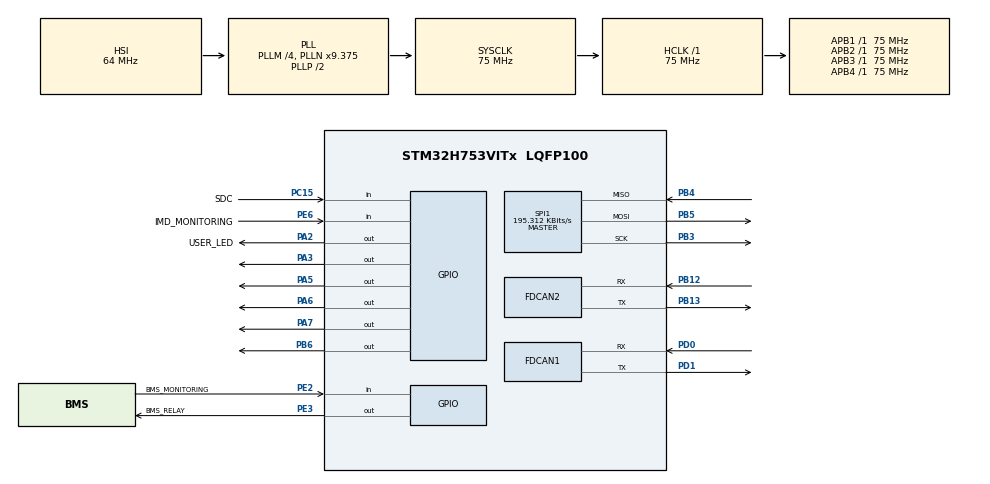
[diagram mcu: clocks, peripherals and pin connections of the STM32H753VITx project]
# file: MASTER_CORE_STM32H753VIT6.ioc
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CORTEX_M7.default_mode_Activation=1
FDCAN1.AutoRetransmission=ENABLE
FDCAN1.CalculateBaudRateNominal=500000
FDCAN1.CalculateTimeBitNominal=2000
FDCAN1.CalculateTimeQuantumNominal=20.0
FDCAN1.DataPrescaler=25
FDCAN1.DataTimeSeg1=2
FDCAN1.FrameFormat=FDCAN_FRAME_FD_NO_BRS
FDCAN1.NominalPrescaler=1
FDCAN1.NominalSyncJumpWidth=13
FDCAN1.NominalTimeSeg1=86
FDCAN1.NominalTimeSeg2=13
FDCAN1.RxFifo0ElmtsNbr=1
FDCAN1.StdFiltersNbr=1
FDCAN1.TxFifoQueueElmtsNbr=1
FDCAN1.TxFifoQueueMode=FDCAN_TX_FIFO_OPERATION
FDCAN2.AutoRetransmission=ENABLE
FDCAN2.CalculateBaudRateNominal=500000
FDCAN2.CalculateTimeBitNominal=2000
FDCAN2.CalculateTimeQuantumNominal=20.0
FDCAN2.DataPrescaler=25
FDCAN2.DataTimeSeg1=2
FDCAN2.FrameFormat=FDCAN_FRAME_FD_NO_BRS
FDCAN2.MessageRAMOffset=9
FDCAN2.NominalPrescaler=1
FDCAN2.NominalSyncJumpWidth=13
FDCAN2.NominalTimeSeg1=86
FDCAN2.NominalTimeSeg2=13
FDCAN2.RxFifo0ElmtsNbr=1
FDCAN2.RxFifo1ElmtsNbr=0
FDCAN2.StdFiltersNbr=0
FDCAN2.TxBuffersNbr=4
FDCAN2.TxEventsNbr=4
FDCAN2.TxFifoQueueElmtsNbr=4
FDCAN2.TxFifoQueueMode=FDCAN_TX_FIFO_OPERATION
Mcu.Family=STM32H7
Mcu.Name=STM32H753VITx
Mcu.Package=LQFP100
NVIC.FDCAN1_IT0_IRQn=true\:3\:0\:true\:false\:true\:true\:true\:true
NVIC.FDCAN1_IT1_IRQn=true\:3\:0\:true\:false\:true\:true\:true\:true
NVIC.FDCAN2_IT0_IRQn=true\:3\:0\:true\:false\:true\:true\:true\:true
NVIC.FDCAN2_IT1_IRQn=true\:3\:0\:true\:false\:true\:true\:true\:true
NVIC.PriorityGroup=NVIC_PRIORITYGROUP_4
NVIC.SPI1_IRQn=true\:0\:0\:false\:false\:true\:true\:true\:true
NVIC.TIM8_TRG_COM_TIM14_IRQn=true\:0\:0\:false\:false\:true\:true\:true\:true
NVIC.TIM8_UP_TIM13_IRQn=true\:0\:0\:true\:false\:true\:true\:true\:true
PA2.GPIO_Label=USER_LED
PA2.Signal=GPIO_Output
PA3.Signal=GPIO_Output
PA5.Signal=GPIO_Output
PA6.Signal=GPIO_Output
PA7.Signal=GPIO_Output
PB12.Mode=FDCAN_Activate
PB12.Signal=FDCAN2_RX
PB13.Mode=FDCAN_Activate
PB13.Signal=FDCAN2_TX
PB3\ (JTDO/TRACESWO).Mode=Full_Duplex_Master
PB3\ (JTDO/TRACESWO).Signal=SPI1_SCK
PB4\ (NJTRST).GPIO_PuPd=GPIO_PULLUP
PB4\ (NJTRST).Mode=Full_Duplex_Master
PB4\ (NJTRST).Signal=SPI1_MISO
PB5.GPIO_PuPd=GPIO_PULLUP
PB5.Mode=Full_Duplex_Master
PB5.Signal=SPI1_MOSI
PB6.GPIO_ModeDefaultOutputPP=GPIO_MODE_OUTPUT_PP
PB6.GPIO_PuPd=GPIO_PULLUP
PB6.Signal=GPIO_Output
PC15-OSC32_OUT\ (OSC32_OUT).GPIO_Label=SDC
PC15-OSC32_OUT\ (OSC32_OUT).Signal=GPIO_Input
PD0.Mode=FDCAN_Activate
PD0.Signal=FDCAN1_RX
PD1.Mode=FDCAN_Activate
PD1.Signal=FDCAN1_TX
PE2.GPIO_Label=BMS_MONITORING
PE2.Signal=GPIO_Input
PE3.GPIO_Label=BMS_RELAY
PE3.Signal=GPIO_Output
PE6.GPIO_Label=IMD_MONITORING
PE6.Signal=GPIO_Input
PH0-OSC_IN\ (PH0).Mode=HSE-External-Oscillator
PH0-OSC_IN\ (PH0).Signal=RCC_OSC_IN
PH1-OSC_OUT\ (PH1).Mode=HSE-External-Oscillator
PH1-OSC_OUT\ (PH1).Signal=RCC_OSC_OUT
ProjectManager.HeapSize=0x200
ProjectManager.StackSize=0x400
ProjectManager.TargetToolchain=STM32CubeIDE
RCC.ADCFreq_Value=129000000
RCC.APB1Freq_Value=75000000
RCC.APB2Freq_Value=75000000
RCC.APB3Freq_Value=75000000
RCC.APB4Freq_Value=75000000
RCC.CortexFreq_Value=75000000
RCC.DIVM1=4
RCC.DIVN1=9
RCC.DIVQ1=3
RCC.HCLKFreq_Value=75000000
RCC.PLL2FRACN=0
RCC.PLL3FRACN=0
RCC.PLLFRACN=3072
RCC.SYSCLKFreq_VALUE=75000000
RCC.SYSCLKSource=RCC_SYSCLKSOURCE_PLLCLK
RCC.USBFreq_Value=50000000
SPI1.BaudRatePrescaler=SPI_BAUDRATEPRESCALER_256
SPI1.CLKPhase=SPI_PHASE_2EDGE
SPI1.CLKPolarity=SPI_POLARITY_HIGH
SPI1.CalculateBaudRate=195.312 KBits/s
SPI1.DataSize=SPI_DATASIZE_8BIT
SPI1.Direction=SPI_DIRECTION_2LINES
SPI1.Mode=SPI_MODE_MASTER
SPI1.VirtualType=VM_MASTER
TIM13.Period=1000
TIM13.Prescaler=75-1
TIM14.Period=10000
TIM14.Prescaler=10-1
VP_TIM13_VS_ClockSourceINT.Mode=Enable_Timer
VP_TIM14_VS_ClockSourceINT.Mode=Enable_Timer
board=custom

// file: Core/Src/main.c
/* USER CODE BEGIN Header */
/**
  ******************************************************************************
  * @file           : main.c
  * @brief          : Main program body
  ******************************************************************************
  * @attention
  *
  * Copyright (c) 2024 STMicroelectronics.
  * All rights reserved.
  *
  * This software is licensed under terms that can be found in the LICENSE file
  * in the root directory of this software component.
  * If no LICENSE file comes with this software, it is provided AS-IS.
  *
  ******************************************************************************
  */
/* USER CODE END Header */
#include "main.h"

/* USER CODE BEGIN Includes */
#include "LTC6811-1_eTechRacing.h"
#include "eTechRacing.h"
#include <stdio.h>
#include <stdlib.h>
#include "errors.h"
#include "can_comunication.h"
#include "BMS.h"
#include "FLASH_SECTOR_H7.h"

/* USER CODE END Includes */

FDCAN_HandleTypeDef hfdcan1;
FDCAN_HandleTypeDef hfdcan2;

SPI_HandleTypeDef hspi1;

TIM_HandleTypeDef htim13;
TIM_HandleTypeDef htim14;

/* USER CODE BEGIN PV */

//ERRORS---------------------------------------------------------------------------------
uint8_t BMS_OK = 1;
//uint8_t PEC_SLAVES_Temp[8*TOTAL_IC];
//uint8_t PEC_SLAVES_Volt[4*TOTAL_IC];
uint8_t PEC_SLAVES_Temp[120];
uint8_t PEC_SLAVES_Volt[60];

//Informació rebuda i calculada------------------------------------------------------------------
//uint16_t voltatjes[12*TOTAL_IC];
//uint16_t temperatures[8*TOTAL_IC];
//uint16_t temperatures_conv[8*TOTAL_IC];
uint16_t voltatjes[180];
uint16_t temperatures[120];
uint16_t temperatures_conv[120];
int32_t Current;
uint8_t curr_arr[4];
uint16_t min_volt;
uint16_t max_volt;
uint32_t sum_volt;
uint16_t min_temp;
uint16_t max_temp;
float mean_temp;
float mean_volt;

//FLAGS EVALUATIONS------------------------------------------------------------------------------------------
//uint32_t ov_flag_arr[12*TOTAL_IC];
//uint32_t uv_flag_arr[12*TOTAL_IC];
//uint32_t ot_flag_arr[8*TOTAL_IC];
//uint32_t sd_flag_arr_volt[4*TOTAL_IC];
//uint32_t sd_flag_arr_temp[8*TOTAL_IC];
uint32_t ov_flag_arr[180];
uint32_t uv_flag_arr[180];
uint32_t ot_flag_arr[120];
uint32_t ut_flag_arr[120];
uint32_t sd_flag_arr_volt[60];
uint32_t sd_flag_arr_temp[120];
uint32_t oc_flag_arr[1];
uint32_t etas_flag[1];
uint32_t current_flag[1];
uint32_t current_sync_flag[1];
uint32_t can_balancing_flag[1];

uint8_t current_error[1] = {1};
uint8_t KEEP_ALIVE = 0;
uint8_t BMS_MONITORING = 0;
uint8_t IMD_MONITORING = 0;
uint8_t SDC_MONITORING = 0;

//FLAGS------------------------------------------------------------------------------------------
uint8_t OV_FLAG = 1;
uint8_t UV_FLAG = 1;
uint8_t OT_FLAG = 1;
uint8_t UT_FLAG = 1;				//Not evaluated
uint8_t OC_FLAG = 1;
uint8_t SD_FLAG = 1;
uint8_t CE_FLAG = 1;
uint8_t ETAS_SYNC_FLAG = 0;
uint8_t CURR_SYNC_FLAG = 1;
uint8_t CAN_BALANCING_FLAG = 0;

uint8_t Airs_State[4] = {0,0,0,0}; //0 airs state,1 air+ state,  2 air- state, 3precharge state

uint8_t msg = 0;

//Configuració-----------------------------------------------------------------------------------
uint8_t GPIOx = 0b00000011;
uint8_t CH = 0b00000000;
uint8_t BLC = 0;							// 0 if not balancing; 1 if balancing
uint8_t AIRs_request = 0;
uint8_t CURR_STATE = 1;

//CAN--------------------------------------------------------------------------------------------
FDCAN_RxHeaderTypeDef RxHeader;
FDCAN_TxHeaderTypeDef TxHeader;
FDCAN_FilterTypeDef canfil;
FDCAN_FilterTypeDef canfil2;
uint8_t RxData[30];
uint8_t TxData[30];

FDCAN_RxHeaderTypeDef RxHeader2;
FDCAN_TxHeaderTypeDef TxHeader2;
uint8_t RxData2[30];
uint8_t TxData2[30];

//INTERRUPCIO TIMER TEMPREATURES I VOLTATJES
uint16_t COBID_TEMP = 0x11A;
uint16_t COBID_VOLT = 0xEA;
uint8_t IC_TEMP = 0;
uint8_t IC_VOLT = 0;
uint8_t RX_VOLT_TEMP = 0;
uint8_t recieve[4+3*8];

uint32_t num1;
uint32_t num2;

uint8_t BMS_SELECTION = 0; //BMS FORZADO == 1 <-> BMS NATURAL == 0

uint32_t BLC_COUNTER = 0;	//COUNTER DE 0 a 3000 mentre està balancejant, quan arriba a 3000 es posa a 0

/* USER CODE END PV */

void SystemClock_Config(void);
static void MPU_Config(void);
static void MX_GPIO_Init(void);
static void MX_FDCAN1_Init(void);
static void MX_FDCAN2_Init(void);
static void MX_SPI1_Init(void);
static void MX_TIM13_Init(void);
static void MX_TIM14_Init(void);
/* USER CODE BEGIN PFP */
static void FDCAN_Config(void);
/* USER CODE END PFP */

int main(void)
{

  /* MPU Configuration--------------------------------------------------------*/
  MPU_Config();

  /* MCU Configuration--------------------------------------------------------*/

  /* Reset of all peripherals, Initializes the Flash interface and the Systick. */
  HAL_Init();

  /* Configure the system clock */
  SystemClock_Config();

  /* Initialize all configured peripherals */
  MX_GPIO_Init();
  MX_FDCAN1_Init();
  MX_FDCAN2_Init();
  MX_SPI1_Init();
  MX_TIM13_Init();
  MX_TIM14_Init();
  /* USER CODE BEGIN 2 */
	   FDCAN_Config();

  	   if(HAL_TIM_Base_Start_IT(&htim14) != HAL_OK) Error_Handler();			//TIMER 14 Initialization
  	   if(HAL_TIM_Base_Start_IT(&htim13) != HAL_OK) Error_Handler();			//TIMER 13 Initialization

  	   HAL_GPIO_WritePin(BMS_RELAY_PORT, BMS_RELAY_PIN, GPIO_PIN_RESET);		//Close BMS relay

  	   outputCS(1);

//	   Flash_Read_Data(0x080A0000,(uint32_t *) &TOTAL_IC, 2);
//	   Flash_Read_Data(0x080A0001,(uint32_t *) &V_BALANCING, 2);
//	   V_MIN = V_BALANCING*40/42;

  /* USER CODE END 2 */

  /* Infinite loop */
  /* USER CODE BEGIN WHILE */
	   while (1)
	   {
//		   Flash_Write_Data(0x080A0000,&num1, 1);
//		   Flash_Read_Data(0x080A0000, &num2, 1);

	 	  if((BLC == 1 && BLC_COUNTER >=3000)){ //ATURA PER LLEGIR O LLEGEIX NORMAL
	 	  		  	  ltc6811_wrpwm(hspi1);
	 	  		  //Voltage & Temperature lectures--------------------------------------------------------------------
	 	  		  	  ltc6811_rav(hspi1, PEC_SLAVES_Volt, voltatjes, GPIOx, CH, 0, min_volt);	//Voltage lectures
	 	  		  //Voltage & Temperature lectures--------------------------------------------------------------------
	 	  		  	   ltc6811_rat(hspi1, PEC_SLAVES_Temp, voltatjes, temperatures, 0, min_volt); //Temperature lectures
	 	  		  	   Conv_Temp(temperatures, temperatures_conv);									//Temperature lectures conversion
	 	  		  	   BLC_COUNTER = 0;
	 	  	  }

	 	  	  else if(BLC == 1 && BLC_COUNTER <3000){ //BALANCEIG
	 	  		  	   ltc6811_wrcfg(hspi1, GPIOx, voltatjes, BLC, min_volt);
	 	  		  	   BLC_COUNTER++;
	 	  	  }else if((BLC == 0)){
	 	  		  //Voltage & Temperature lectures--------------------------------------------------------------------
	 	  		  	  ltc6811_rav(hspi1, PEC_SLAVES_Volt, voltatjes, GPIOx, CH, 0, min_volt);	//Voltage lectures
	 	  		  //Voltage & Temperature lectures--------------------------------------------------------------------
	 	  		  	   ltc6811_rat(hspi1, PEC_SLAVES_Temp, voltatjes, temperatures, 0, min_volt); //Temperature lectures
	 	  		  	   Conv_Temp(temperatures, temperatures_conv);									//Temperature lectures conversion
	 	  		  	   BLC_COUNTER = 0;
	 	  	  }

	 	  	   switch(BMS_SELECTION){
	 	  	   case 0:
	 	  		   //Calculation of min, max, avg volt, avg temp & current-----------------------------------------------------------
	 	  		   	   min_volt = Min_Volt(voltatjes);									//Minimum voltage calculation
	 	  		   	   max_volt = Max_Volt(voltatjes);									//Maximum voltage calculation
	 	  		   	   sum_volt = Sum_Volt(voltatjes);									//Sum of all voltages
	 	  		   	   mean_volt = Mean_Volt(voltatjes);								//Mean voltage calculation
	 	  		   	   min_temp = Min_Temp(temperatures_conv);							//Minimum temperature calculation
	 	  		   	   max_temp = Max_Temp(temperatures_conv);							//Maximum temperature calculation
	 	  		   	   mean_temp = Mean_Temp(temperatures_conv);						//Mean temperature calculation

	 	  		   //Errors evaluation---------------------------------------------------------------------------------------
	 	  		   	   UT_FLAG = UT_EVAL(temperatures_conv, ut_flag_arr);				//Under voltage error evaluation
	 	  		   	   OV_FLAG = OV_EVAL(voltatjes, ov_flag_arr);						//Over voltage error evaluation
	 	  		   	   UV_FLAG = UV_EVAL(voltatjes, uv_flag_arr);						//Under voltage error evaluation
	 	  		   	   OT_FLAG = OT_EVAL(temperatures_conv, ot_flag_arr);				//Over temperature error evaluation
	 	  		   	   OC_FLAG = detection_BMSerror_OverCurrent(Current, oc_flag_arr);	//Over current error evaluation
	 	  		   	   ETAS_SYNC_FLAG = ETAS_SYNC_EVAL(etas_flag);						//Evaluate if the ETAS is alive
	 	  		   	   CURR_SYNC_FLAG = CURR_SYNC_EVAL(current_sync_flag);				//Evaluate if the current sensor is alive
	 	  		   	   CAN_BALANCING_FLAG = BALANCING_SYNC_EVAL(can_balancing_flag);	//Evaluate the forced balancing sent by CANoe
	 	  		   	   SD_FLAG = slave_disc(PEC_SLAVES_Volt, PEC_SLAVES_Temp, sd_flag_arr_volt, sd_flag_arr_temp); //Evaluate the slave disconnection
	 	  		   	   CE_FLAG = current_error_eval(current_error, current_flag);		//Evaluate if there is a current error for more than 500ms
	 	  		   	   if(HAL_GetTick()>4500){
	 	  		   	   if(((OV_FLAG == 1) || (UT_FLAG == 1) || (UV_FLAG == 1) || (OT_FLAG == 1) || (OC_FLAG == 1) ||(SD_FLAG == 1)||(CE_FLAG == 1)||(CURR_SYNC_FLAG == 1)) ) BMS_OK = 0;	}//If there is any error, BMS_OK = 0
	 	  			   BMS_MONITORING = HAL_GPIO_ReadPin(BMS_MONITORING_PORT, BMS_MONITORING_PIN)^1 ;	//Evaluate the BMS_Monitoring pin
	 	  			   IMD_MONITORING = HAL_GPIO_ReadPin(IMD_MONITORING_PORT, IMD_MONITORING_PIN)^1;	//Evaluate the IMD_Monitoring pin
	 	  			   SDC_MONITORING = HAL_GPIO_ReadPin(SDC_MONITORING_PORT, SDC_MONITORING_PIN)^1;	//Evaluate the SDC_Monitoring pin
	 	  		  break;
	 	  	   case 1:
	 	  		   //Calculation of min, max, avg volt, avg temp & current-----------------------------------------------------------
	 	  		   	   min_volt = 36000;
	 	  		   	   max_volt = 39500;
	 	  		   	   sum_volt = 5880000;
	 	  		   	   mean_volt = 37500;
	 	  		   	   min_temp = 252;
	 	  		   	   max_temp = 263;
	 	  		   	   mean_temp = 256;

	 	  		   //Errors evaluation---------------------------------------------------------------------------------------
	 	  		   	   UT_FLAG = 0;
	 	  		   	   OV_FLAG = 0;
	 	  		   	   UV_FLAG = 0;
	 	  		   	   OT_FLAG = 0;
	 	  		   	   OC_FLAG = 0;
	 	  		   	   ETAS_SYNC_FLAG = ETAS_SYNC_EVAL(etas_flag);						//Evaluate if the ETAS is alive
	 	  		   	   CURR_SYNC_FLAG = CURR_SYNC_EVAL(current_sync_flag);				//Evaluate if the current sensor is alive
	 	  		   	   CAN_BALANCING_FLAG = BALANCING_SYNC_EVAL(can_balancing_flag);	//Evaluate the forced balancing sent by CANoe
	 	  		   	   SD_FLAG = slave_disc(PEC_SLAVES_Volt, PEC_SLAVES_Temp, sd_flag_arr_volt, sd_flag_arr_temp); //Evaluate the slave disconnection
	 	  		   	   CE_FLAG = current_error_eval(current_error, current_flag);		//Evaluate if there is a current error for more than 500ms
	 	  		   	 BMS_MONITORING = HAL_GPIO_ReadPin(BMS_MONITORING_PORT, BMS_MONITORING_PIN)^1 ;	//Evaluate the BMS_Monitoring pin
	 	  		   		  			   IMD_MONITORING = HAL_GPIO_ReadPin(IMD_MONITORING_PORT, IMD_MONITORING_PIN)^1;	//Evaluate the IMD_Monitoring pin
	 	  		   		  			   SDC_MONITORING = HAL_GPIO_ReadPin(SDC_MONITORING_PORT, SDC_MONITORING_PIN)^1;	//Evaluate the SDC_Monitoring pin
	 	  			   BMS_OK = 1;
	 	  			  HAL_GPIO_WritePin(BMS_RELAY_PORT, BMS_RELAY_PIN, GPIO_PIN_RESET);		//Close BMS relay
	 	  		   break;
	 	  	   }
	 	  //State Machine Evaluation------------------------------------------------------------------------------
	 	  	   CURR_STATE = StateMachineSteps(CURR_STATE, AIRs_request, BMS_OK, ETAS_SYNC_FLAG);	//Evaluate which is the current state of the charging process
	 	  	   BLC = StateMachineActuation(CURR_STATE, Airs_State, CAN_BALANCING_FLAG);

    /* USER CODE END WHILE */

  }
}

void SystemClock_Config(void)
{
  RCC_OscInitTypeDef RCC_OscInitStruct = {0};
  RCC_ClkInitTypeDef RCC_ClkInitStruct = {0};

  /** Supply configuration update enable
  */
  HAL_PWREx_ConfigSupply(PWR_LDO_SUPPLY);

  /** Configure the main internal regulator output voltage
  */
  __HAL_PWR_VOLTAGESCALING_CONFIG(PWR_REGULATOR_VOLTAGE_SCALE3);

  while(!__HAL_PWR_GET_FLAG(PWR_FLAG_VOSRDY)) {}

  /** Initializes the RCC Oscillators according to the specified parameters
  * in the RCC_OscInitTypeDef structure.
  */
  RCC_OscInitStruct.OscillatorType = RCC_OSCILLATORTYPE_HSI;
  RCC_OscInitStruct.HSIState = RCC_HSI_DIV1;
  RCC_OscInitStruct.HSICalibrationValue = RCC_HSICALIBRATION_DEFAULT;
  RCC_OscInitStruct.PLL.PLLState = RCC_PLL_ON;
  RCC_OscInitStruct.PLL.PLLSource = RCC_PLLSOURCE_HSI;
  RCC_OscInitStruct.PLL.PLLM = 4;
  RCC_OscInitStruct.PLL.PLLN = 9;
  RCC_OscInitStruct.PLL.PLLP = 2;
  RCC_OscInitStruct.PLL.PLLQ = 3;
  RCC_OscInitStruct.PLL.PLLR = 2;
  RCC_OscInitStruct.PLL.PLLRGE = RCC_PLL1VCIRANGE_3;
  RCC_OscInitStruct.PLL.PLLVCOSEL = RCC_PLL1VCOMEDIUM;
  RCC_OscInitStruct.PLL.PLLFRACN = 3072;
  if (HAL_RCC_OscConfig(&RCC_OscInitStruct) != HAL_OK)
  {
    Error_Handler();
  }

  /** Initializes the CPU, AHB and APB buses clocks
  */
  RCC_ClkInitStruct.ClockType = RCC_CLOCKTYPE_HCLK|RCC_CLOCKTYPE_SYSCLK
                              |RCC_CLOCKTYPE_PCLK1|RCC_CLOCKTYPE_PCLK2
                              |RCC_CLOCKTYPE_D3PCLK1|RCC_CLOCKTYPE_D1PCLK1;
  RCC_ClkInitStruct.SYSCLKSource = RCC_SYSCLKSOURCE_PLLCLK;
  RCC_ClkInitStruct.SYSCLKDivider = RCC_SYSCLK_DIV1;
  RCC_ClkInitStruct.AHBCLKDivider = RCC_HCLK_DIV1;
  RCC_ClkInitStruct.APB3CLKDivider = RCC_APB3_DIV1;
  RCC_ClkInitStruct.APB1CLKDivider = RCC_APB1_DIV1;
  RCC_ClkInitStruct.APB2CLKDivider = RCC_APB2_DIV1;
  RCC_ClkInitStruct.APB4CLKDivider = RCC_APB4_DIV1;

  if (HAL_RCC_ClockConfig(&RCC_ClkInitStruct, FLASH_LATENCY_1) != HAL_OK)
  {
    Error_Handler();
  }
}

static void MX_FDCAN1_Init(void)
{

  hfdcan1.Instance = FDCAN1;
  hfdcan1.Init.FrameFormat = FDCAN_FRAME_FD_NO_BRS;
  hfdcan1.Init.Mode = FDCAN_MODE_NORMAL;
  hfdcan1.Init.AutoRetransmission = ENABLE;
  hfdcan1.Init.TransmitPause = DISABLE;
  hfdcan1.Init.ProtocolException = DISABLE;
  hfdcan1.Init.NominalPrescaler = 1;
  hfdcan1.Init.NominalSyncJumpWidth = 13;
  hfdcan1.Init.NominalTimeSeg1 = 86;
  hfdcan1.Init.NominalTimeSeg2 = 13;
  hfdcan1.Init.DataPrescaler = 25;
  hfdcan1.Init.DataSyncJumpWidth = 1;
  hfdcan1.Init.DataTimeSeg1 = 2;
  hfdcan1.Init.DataTimeSeg2 = 1;
  hfdcan1.Init.MessageRAMOffset = 0;
  hfdcan1.Init.StdFiltersNbr = 1;
  hfdcan1.Init.ExtFiltersNbr = 0;
  hfdcan1.Init.RxFifo0ElmtsNbr = 1;
  hfdcan1.Init.RxFifo0ElmtSize = FDCAN_DATA_BYTES_8;
  hfdcan1.Init.RxFifo1ElmtsNbr = 0;
  hfdcan1.Init.RxFifo1ElmtSize = FDCAN_DATA_BYTES_8;
  hfdcan1.Init.RxBuffersNbr = 0;
  hfdcan1.Init.RxBufferSize = FDCAN_DATA_BYTES_8;
  hfdcan1.Init.TxEventsNbr = 0;
  hfdcan1.Init.TxBuffersNbr = 0;
  hfdcan1.Init.TxFifoQueueElmtsNbr = 1;
  hfdcan1.Init.TxFifoQueueMode = FDCAN_TX_FIFO_OPERATION;
  hfdcan1.Init.TxElmtSize = FDCAN_DATA_BYTES_8;
  if (HAL_FDCAN_Init(&hfdcan1) != HAL_OK)
  {
    Error_Handler();
  }

}

static void MX_FDCAN2_Init(void)
{

  hfdcan2.Instance = FDCAN2;
  hfdcan2.Init.FrameFormat = FDCAN_FRAME_FD_NO_BRS;
  hfdcan2.Init.Mode = FDCAN_MODE_NORMAL;
  hfdcan2.Init.AutoRetransmission = ENABLE;
  hfdcan2.Init.TransmitPause = DISABLE;
  hfdcan2.Init.ProtocolException = DISABLE;
  hfdcan2.Init.NominalPrescaler = 1;
  hfdcan2.Init.NominalSyncJumpWidth = 13;
  hfdcan2.Init.NominalTimeSeg1 = 86;
  hfdcan2.Init.NominalTimeSeg2 = 13;
  hfdcan2.Init.DataPrescaler = 25;
  hfdcan2.Init.DataSyncJumpWidth = 1;
  hfdcan2.Init.DataTimeSeg1 = 2;
  hfdcan2.Init.DataTimeSeg2 = 1;
  hfdcan2.Init.MessageRAMOffset = 9;
  hfdcan2.Init.StdFiltersNbr = 0;
  hfdcan2.Init.ExtFiltersNbr = 0;
  hfdcan2.Init.RxFifo0ElmtsNbr = 1;
  hfdcan2.Init.RxFifo0ElmtSize = FDCAN_DATA_BYTES_8;
  hfdcan2.Init.RxFifo1ElmtsNbr = 0;
  hfdcan2.Init.RxFifo1ElmtSize = FDCAN_DATA_BYTES_8;
  hfdcan2.Init.RxBuffersNbr = 0;
  hfdcan2.Init.RxBufferSize = FDCAN_DATA_BYTES_8;
  hfdcan2.Init.TxEventsNbr = 4;
  hfdcan2.Init.TxBuffersNbr = 4;
  hfdcan2.Init.TxFifoQueueElmtsNbr = 4;
  hfdcan2.Init.TxFifoQueueMode = FDCAN_TX_FIFO_OPERATION;
  hfdcan2.Init.TxElmtSize = FDCAN_DATA_BYTES_8;
  if (HAL_FDCAN_Init(&hfdcan2) != HAL_OK)
  {
    Error_Handler();
  }

}

static void MX_SPI1_Init(void)
{

  /* SPI1 parameter configuration*/
  hspi1.Instance = SPI1;
  hspi1.Init.Mode = SPI_MODE_MASTER;
  hspi1.Init.Direction = SPI_DIRECTION_2LINES;
  hspi1.Init.DataSize = SPI_DATASIZE_8BIT;
  hspi1.Init.CLKPolarity = SPI_POLARITY_HIGH;
  hspi1.Init.CLKPhase = SPI_PHASE_2EDGE;
  hspi1.Init.NSS = SPI_NSS_SOFT;
  hspi1.Init.BaudRatePrescaler = SPI_BAUDRATEPRESCALER_256;
  hspi1.Init.FirstBit = SPI_FIRSTBIT_MSB;
  hspi1.Init.TIMode = SPI_TIMODE_DISABLE;
  hspi1.Init.CRCCalculation = SPI_CRCCALCULATION_DISABLE;
  hspi1.Init.CRCPolynomial = 0x0;
  hspi1.Init.NSSPMode = SPI_NSS_PULSE_ENABLE;
  hspi1.Init.NSSPolarity = SPI_NSS_POLARITY_LOW;
  hspi1.Init.FifoThreshold = SPI_FIFO_THRESHOLD_01DATA;
  hspi1.Init.TxCRCInitializationPattern = SPI_CRC_INITIALIZATION_ALL_ZERO_PATTERN;
  hspi1.Init.RxCRCInitializationPattern = SPI_CRC_INITIALIZATION_ALL_ZERO_PATTERN;
  hspi1.Init.MasterSSIdleness = SPI_MASTER_SS_IDLENESS_00CYCLE;
  hspi1.Init.MasterInterDataIdleness = SPI_MASTER_INTERDATA_IDLENESS_00CYCLE;
  hspi1.Init.MasterReceiverAutoSusp = SPI_MASTER_RX_AUTOSUSP_DISABLE;
  hspi1.Init.MasterKeepIOState = SPI_MASTER_KEEP_IO_STATE_DISABLE;
  hspi1.Init.IOSwap = SPI_IO_SWAP_DISABLE;
  if (HAL_SPI_Init(&hspi1) != HAL_OK)
  {
    Error_Handler();
  }

}

static void MX_TIM13_Init(void)
{

  htim13.Instance = TIM13;
  htim13.Init.Prescaler = 75-1;
  htim13.Init.CounterMode = TIM_COUNTERMODE_UP;
  htim13.Init.Period = 1000;
  htim13.Init.ClockDivision = TIM_CLOCKDIVISION_DIV1;
  htim13.Init.AutoReloadPreload = TIM_AUTORELOAD_PRELOAD_DISABLE;
  if (HAL_TIM_Base_Init(&htim13) != HAL_OK)
  {
    Error_Handler();
  }

}

static void MX_TIM14_Init(void)
{

  htim14.Instance = TIM14;
  htim14.Init.Prescaler = 10-1;
  htim14.Init.CounterMode = TIM_COUNTERMODE_UP;
  htim14.Init.Period = 10000;
  htim14.Init.ClockDivision = TIM_CLOCKDIVISION_DIV1;
  htim14.Init.AutoReloadPreload = TIM_AUTORELOAD_PRELOAD_DISABLE;
  if (HAL_TIM_Base_Init(&htim14) != HAL_OK)
  {
    Error_Handler();
  }

}

static void MX_GPIO_Init(void)
{
  GPIO_InitTypeDef GPIO_InitStruct = {0};

  /* GPIO Ports Clock Enable */
  __HAL_RCC_GPIOE_CLK_ENABLE();
  __HAL_RCC_GPIOC_CLK_ENABLE();
  __HAL_RCC_GPIOH_CLK_ENABLE();
  __HAL_RCC_GPIOA_CLK_ENABLE();
  __HAL_RCC_GPIOB_CLK_ENABLE();
  __HAL_RCC_GPIOD_CLK_ENABLE();

  /*Configure GPIO pin Output Level */
  HAL_GPIO_WritePin(BMS_RELAY_GPIO_Port, BMS_RELAY_Pin, GPIO_PIN_RESET);

  /*Configure GPIO pin Output Level */
  HAL_GPIO_WritePin(GPIOA, USER_LED_Pin|GPIO_PIN_3|GPIO_PIN_5|GPIO_PIN_6
                          |GPIO_PIN_7, GPIO_PIN_RESET);

  /*Configure GPIO pin Output Level */
  HAL_GPIO_WritePin(GPIOB, GPIO_PIN_6, GPIO_PIN_RESET);

  /*Configure GPIO pins : BMS_MONITORING_Pin IMD_MONITORING_Pin */
  GPIO_InitStruct.Pin = BMS_MONITORING_Pin|IMD_MONITORING_Pin;
  GPIO_InitStruct.Mode = GPIO_MODE_INPUT;
  GPIO_InitStruct.Pull = GPIO_NOPULL;
  HAL_GPIO_Init(GPIOE, &GPIO_InitStruct);

  /*Configure GPIO pin : BMS_RELAY_Pin */
  GPIO_InitStruct.Pin = BMS_RELAY_Pin;
  GPIO_InitStruct.Mode = GPIO_MODE_OUTPUT_PP;
  GPIO_InitStruct.Pull = GPIO_NOPULL;
  GPIO_InitStruct.Speed = GPIO_SPEED_FREQ_LOW;
  HAL_GPIO_Init(BMS_RELAY_GPIO_Port, &GPIO_InitStruct);

  /*Configure GPIO pin : SDC_Pin */
  GPIO_InitStruct.Pin = SDC_Pin;
  GPIO_InitStruct.Mode = GPIO_MODE_INPUT;
  GPIO_InitStruct.Pull = GPIO_NOPULL;
  HAL_GPIO_Init(SDC_GPIO_Port, &GPIO_InitStruct);

  /*Configure GPIO pins : USER_LED_Pin PA3 PA5 PA6
                           PA7 */
  GPIO_InitStruct.Pin = USER_LED_Pin|GPIO_PIN_3|GPIO_PIN_5|GPIO_PIN_6
                          |GPIO_PIN_7;
  GPIO_InitStruct.Mode = GPIO_MODE_OUTPUT_PP;
  GPIO_InitStruct.Pull = GPIO_NOPULL;
  GPIO_InitStruct.Speed = GPIO_SPEED_FREQ_LOW;
  HAL_GPIO_Init(GPIOA, &GPIO_InitStruct);

  /*Configure GPIO pin : PB6 */
  GPIO_InitStruct.Pin = GPIO_PIN_6;
  GPIO_InitStruct.Mode = GPIO_MODE_OUTPUT_PP;
  GPIO_InitStruct.Pull = GPIO_PULLUP;
  GPIO_InitStruct.Speed = GPIO_SPEED_FREQ_LOW;
  HAL_GPIO_Init(GPIOB, &GPIO_InitStruct);

}

/* USER CODE BEGIN 4 */
static void FDCAN_Config(void)
{
  FDCAN_FilterTypeDef sFilterConfig;

  /* Configure Rx filter */
  sFilterConfig.IdType = FDCAN_STANDARD_ID;
  sFilterConfig.FilterIndex = 0;
  sFilterConfig.FilterType = FDCAN_FILTER_RANGE;
  sFilterConfig.FilterConfig = FDCAN_FILTER_TO_RXFIFO0;
  sFilterConfig.FilterID1 = 0x00;
  sFilterConfig.FilterID2 = 0x00;
  sFilterConfig.RxBufferIndex = 0;

  if (HAL_FDCAN_ConfigFilter(&hfdcan1, &sFilterConfig) != HAL_OK)
  {
    Error_Handler();
  }

  FDCAN_FilterTypeDef sFilterConfig2;

  sFilterConfig2.IdType = FDCAN_STANDARD_ID;
  sFilterConfig2.FilterIndex = 1;
  sFilterConfig2.FilterType = FDCAN_FILTER_RANGE;
  sFilterConfig2.FilterConfig = FDCAN_FILTER_TO_RXFIFO0;
  sFilterConfig2.FilterID1 = 0x00;
  sFilterConfig2.FilterID2 = 0x1E0;
  sFilterConfig2.RxBufferIndex = 0;
  if (HAL_FDCAN_ConfigFilter(&hfdcan2, &sFilterConfig2) != HAL_OK)
  {
    /* Filter configuration Error */
    Error_Handler();
  }
  // STart FDCAN1
  if(HAL_FDCAN_Start(&hfdcan1)!= HAL_OK)
  {
   Error_Handler();
  }

  // STart FDCAN2
  if(HAL_FDCAN_Start(&hfdcan2)!= HAL_OK)
  {
   Error_Handler();
  }

  // Activate the notification for new data in FIFO0 for FDCAN1
  if (HAL_FDCAN_ActivateNotification(&hfdcan1, FDCAN_IT_RX_FIFO0_NEW_MESSAGE, 0) != HAL_OK)
  {
    /* Notification Error */
    Error_Handler();
  }

  // Activate the notification for new data in FIFO1 for FDCAN2
  if (HAL_FDCAN_ActivateNotification(&hfdcan2, FDCAN_IT_RX_FIFO0_NEW_MESSAGE, 0) != HAL_OK)
  {
    /* Notification Error */
    Error_Handler();
  }
}

void HAL_FDCAN_RxFifo0Callback(FDCAN_HandleTypeDef *hfdcan, uint32_t RxFifo0ITs)
{
  if((RxFifo0ITs & FDCAN_IT_RX_FIFO0_NEW_MESSAGE) != RESET)
  {
    /* Retreive Rx messages from RX FIFO0 */
    if (HAL_FDCAN_GetRxMessage(hfdcan, FDCAN_RX_FIFO0, &RxHeader, RxData) != HAL_OK)
    {
    Error_Handler();
    }

    if (HAL_FDCAN_ActivateNotification(hfdcan, FDCAN_IT_RX_FIFO0_NEW_MESSAGE, 0) != HAL_OK)
    {
      Error_Handler();
    }
        if(RxHeader.Identifier == ETAS_SYNC){					//If the received message through CAN 1 has the ETAS_SYNC COBID
      	   msg = 1;									//Start the CAN transmitting function
      	   etas_flag[0] = HAL_GetTick();			//Actualize the etas_flag with the current tick
        }
        if(RxHeader.Identifier == AIRS_REQUEST){			//If the received message through CAN 1 has the AIRS_REQUEST COBID
      	   AIRs_request = RxData[0];				//Save the RxData which contains the charging state number
        }

        if(RxHeader.Identifier == CURRENT){				//If the received message through CAN 1 has the CURRENT COBID
      	   Current = Curr_EVAL(RxData);				//Extract the current value sent by CAN 1
      	   current_sync_flag[0]=HAL_GetTick();		//Actualize the current_sync_flag with the current tick
      	   current_error[0] = RxData[4];			//Saves the error data byte of the current value
        }

        if(RxHeader.Identifier == DISPLAY_SYNC){			//If the received message through CAN 2 has the DISPLAY_SYNC COBID
      	   RX_VOLT_TEMP = 1;						//Set the RX_VOLT_TEMP to 1 to start the Voltages and Temperatures transmission through CAN 2
        }
        if(RxHeader.Identifier == CAN_FORCED_BALANCING){	//If the received message through CAN 2 has the CAN_FORCED_BALANCING COBID
      	   can_balancing_flag[0] = HAL_GetTick();	//Actualize the can_balancing_flag with the current tick
        }
//        if(RxHeader.Identifier == BMS_SETTINGS){
//        	TOTAL_IC = RxData[0]>>1;
// 		   Flash_Write_Data(0x080A0000,(uint32_t *) &TOTAL_IC, 2);
//        }
//        if(RxHeader.Identifier == BALANCING_VOLTAGE){
//               	V_BALANCING = (RxData[0]<<8) | RxData[1];
//               	V_MIN = V_BALANCING*40/42;
//        		   Flash_Write_Data(0x080A0001,(uint32_t *) &V_BALANCING, 2);
//               }

  }

}
void HAL_TIM_PeriodElapsedCallback(TIM_HandleTypeDef *htim)
 {
   if (htim->Instance == TIM14)					//When the TIMER 14 has a pulse, the function moves 1 iteration forward, up to 5 times
   {
  	 switch(msg){								//Depending on the msg state
   case 1:
  	 message_cantx_Voltage_State(hfdcan1, min_volt, max_volt, sum_volt, TxData, TxHeader); 		//Send the min, max and mean voltage values through CAN 1
  	 msg=2;																						//Set the msg state to 2
  	 break;
   case 2:
  	 message_cantx_Temperature_State(hfdcan1, min_temp, max_temp, mean_temp, TxData, TxHeader);	//Send the min, max and mean temperature values through CAN 1
  	 msg=3;																						//Set the msg state to 3
  	 break;
   case 3:
  	 message_cantx_AIR_State(hfdcan1,Airs_State, TxData, TxHeader);								//Send the Airs_State array through CAN 1, contains the current state of each AIR
  	 msg=4;																						//Set the msg state to 4
  	 break;
   case 4:
  	 message_cantx_Keep_Alive(hfdcan1, KEEP_ALIVE, TxData, TxHeader);								//Send the Keep_Alive of the master
  	 KEEP_ALIVE++;																				//Sum 1 to the Keep_alive value
  	 msg=5;																						//Set the msg state to 5
  	 break;
   case 5:
  	 message_cantx_Shutdown(hfdcan1, SDC_MONITORING, BMS_MONITORING, IMD_MONITORING, TxData, TxHeader);	//Send the SDC, BMS, IMD monitoring through CAN 1
  	 msg=0;																							//Set the msg state to 0
  	 break;
   }
}

   if (htim->Instance == TIM13){					//When the TIMER 14 has a pulse, the function moves 1 iteration forward, up to 5 times
	   if((RX_VOLT_TEMP<=2*TOTAL_IC) && (RX_VOLT_TEMP > 0)){						//Enters the function if RX_VOLT_TEMP is between 1 and 2*TOTAL_IC, so that the odd ones will be the TEMP Rx and the pair ones will be the VOLT Rx
	   if((RX_VOLT_TEMP == 1) || (RX_VOLT_TEMP == 3) || (RX_VOLT_TEMP == 5) || (RX_VOLT_TEMP == 7) || (RX_VOLT_TEMP == 9) || (RX_VOLT_TEMP == 11) || (RX_VOLT_TEMP == 13) || (RX_VOLT_TEMP == 15) || (RX_VOLT_TEMP == 17) || (RX_VOLT_TEMP == 19) || (RX_VOLT_TEMP == 21) || (RX_VOLT_TEMP == 23) || (RX_VOLT_TEMP == 25) || (RX_VOLT_TEMP == 27) || (RX_VOLT_TEMP == 29)){
		   message_cantx_TEMPERATURES_IT(COBID_TEMP, IC_TEMP, hfdcan2, temperatures_conv, TxData2, TxHeader2); //Send all voltages of a slave through CAN 2, the slave iterates by summing 1 to the IC
		   IC_TEMP = IC_TEMP+1;													//Sum 1 to the IC
		   if(IC_TEMP<TOTAL_IC) COBID_TEMP += 2;
		   else IC_TEMP = 0, COBID_TEMP = 0x11A;
	   }

	   else{
		   message_cantx_VOLTATJES_IT(COBID_VOLT, IC_VOLT, hfdcan2, voltatjes, TxData2, TxHeader2);
		   uint8_t increments[15] = {3,2,3,3,2,3,3,2,3,3,2,3,3,2,3};
		   IC_VOLT = IC_VOLT+1;
		   if (IC_VOLT < TOTAL_IC) COBID_VOLT += increments[IC_VOLT-1];
		   else IC_VOLT = 0, COBID_VOLT = 0xEA;
	   }
	   RX_VOLT_TEMP += 1;

	   message_cantx_SF(hfdcan2, UT_FLAG, OT_FLAG, OV_FLAG, UV_FLAG, OC_FLAG, Airs_State[3], Airs_State[1], Airs_State[2], SDC_MONITORING, BMS_OK, SD_FLAG, CE_FLAG, UV_FLAG, BLC, TxData2, TxHeader2);
	}
	else RX_VOLT_TEMP = 0;
   }

}
/* USER CODE END 4 */

 /* MPU Configuration */

void MPU_Config(void)
{
  MPU_Region_InitTypeDef MPU_InitStruct = {0};

  /* Disables the MPU */
  HAL_MPU_Disable();

  /** Initializes and configures the Region and the memory to be protected
  */
  MPU_InitStruct.Enable = MPU_REGION_ENABLE;
  MPU_InitStruct.Number = MPU_REGION_NUMBER0;
  MPU_InitStruct.BaseAddress = 0x0;
  MPU_InitStruct.Size = MPU_REGION_SIZE_4GB;
  MPU_InitStruct.SubRegionDisable = 0x87;
  MPU_InitStruct.TypeExtField = MPU_TEX_LEVEL0;
  MPU_InitStruct.AccessPermission = MPU_REGION_NO_ACCESS;
  MPU_InitStruct.DisableExec = MPU_INSTRUCTION_ACCESS_DISABLE;
  MPU_InitStruct.IsShareable = MPU_ACCESS_SHAREABLE;
  MPU_InitStruct.IsCacheable = MPU_ACCESS_NOT_CACHEABLE;
  MPU_InitStruct.IsBufferable = MPU_ACCESS_NOT_BUFFERABLE;

  HAL_MPU_ConfigRegion(&MPU_InitStruct);
  /* Enables the MPU */
  HAL_MPU_Enable(MPU_PRIVILEGED_DEFAULT);

}

void Error_Handler(void)
{
  __disable_irq();
}
